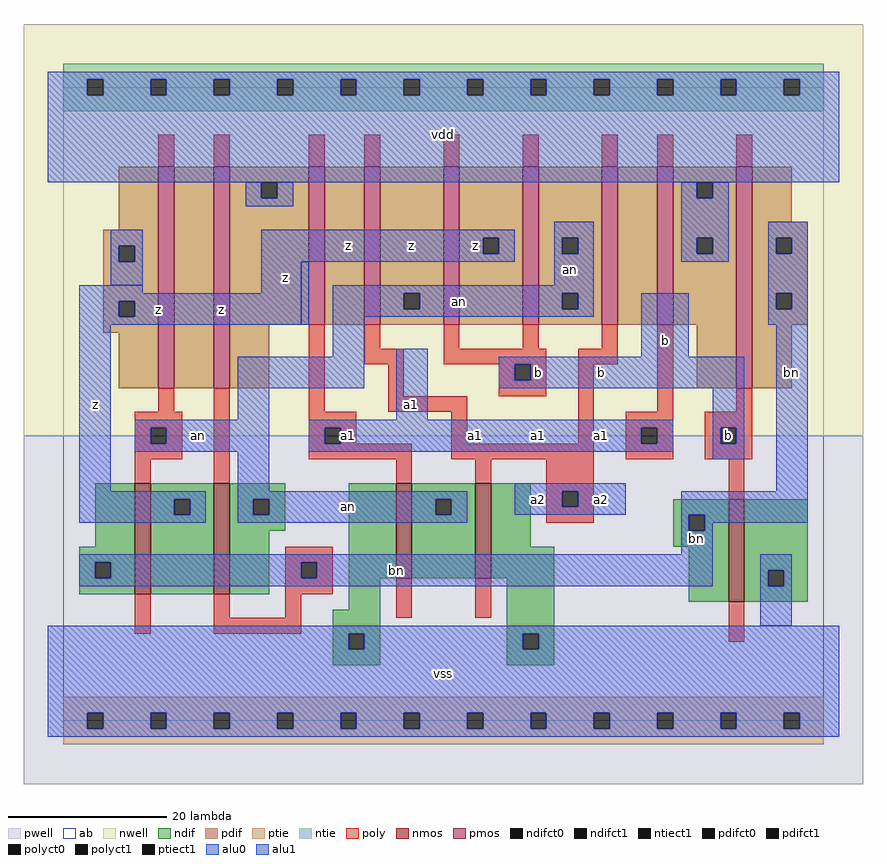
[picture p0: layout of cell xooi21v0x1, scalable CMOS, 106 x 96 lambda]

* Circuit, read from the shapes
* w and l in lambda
.subckt xooi21v0x1 a1 a2 an b bn vdd vss z
M1 z an bn vss nfet w=14 l=2
M2 an bn z vss nfet w=14 l=2
M3 an a1 vss vss nfet w=12 l=2
M4 vss a2 an vss nfet w=12 l=2
M5 vss b bn vss nfet w=13 l=2
M6 n1 an z vdd pfet w=28 l=2
M7 vdd bn n1 vdd pfet w=28 l=2
M8 n2 a1 vdd vdd pfet w=20 l=2
M9 an a2 n2 vdd pfet w=20 l=2
M10 z b an vdd pfet w=20 l=2 m=2
M11 n3 a2 an vdd pfet w=20 l=2
M12 vdd a1 n3 vdd pfet w=20 l=2
M13 bn b vdd vdd pfet w=28 l=2
.ends

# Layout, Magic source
magic
tech scmos
<< ab >>
rect 0 0 96 80
<< nwell >>
rect -5 36 101 88
<< pwell >>
rect -5 -8 101 36
<< poly >>
rect 12 70 14 74
rect 19 70 21 74
rect 31 70 33 74
rect 38 70 40 74
rect 48 70 50 74
rect 58 70 60 74
rect 68 70 70 74
rect 75 70 77 74
rect 85 70 87 74
rect 12 39 14 42
rect 9 37 15 39
rect 9 35 11 37
rect 13 35 15 37
rect 9 33 15 35
rect 9 30 11 33
rect 19 30 21 42
rect 31 39 33 50
rect 38 47 40 50
rect 48 47 50 50
rect 58 47 60 50
rect 68 47 70 50
rect 38 45 43 47
rect 48 45 61 47
rect 41 41 43 45
rect 55 43 57 45
rect 59 43 61 45
rect 55 41 61 43
rect 65 45 70 47
rect 41 39 51 41
rect 31 37 37 39
rect 31 35 33 37
rect 35 35 37 37
rect 49 35 51 39
rect 65 35 67 45
rect 75 39 77 50
rect 85 39 87 42
rect 31 33 44 35
rect 49 33 67 35
rect 71 37 77 39
rect 71 35 73 37
rect 75 35 77 37
rect 71 33 77 35
rect 81 37 87 39
rect 81 35 83 37
rect 85 35 87 37
rect 81 33 87 35
rect 42 30 44 33
rect 52 30 54 33
rect 28 20 34 22
rect 28 18 30 20
rect 32 18 34 20
rect 28 16 34 18
rect 61 29 67 33
rect 61 27 63 29
rect 65 27 67 29
rect 84 28 86 33
rect 61 25 67 27
rect 9 11 11 16
rect 19 13 21 16
rect 28 13 30 16
rect 19 11 30 13
rect 42 13 44 18
rect 52 13 54 18
rect 84 10 86 15
<< ndif >>
rect 4 22 9 30
rect 2 20 9 22
rect 2 18 4 20
rect 6 18 9 20
rect 2 16 9 18
rect 11 28 19 30
rect 11 26 14 28
rect 16 26 19 28
rect 11 16 19 26
rect 21 28 28 30
rect 21 26 24 28
rect 26 26 28 28
rect 21 24 28 26
rect 21 16 26 24
rect 36 18 42 30
rect 44 28 52 30
rect 44 26 47 28
rect 49 26 52 28
rect 44 18 52 26
rect 54 22 59 30
rect 77 26 84 28
rect 77 24 79 26
rect 81 24 84 26
rect 77 22 84 24
rect 54 18 62 22
rect 36 14 40 18
rect 34 11 40 14
rect 34 9 36 11
rect 38 9 40 11
rect 34 7 40 9
rect 56 11 62 18
rect 79 15 84 22
rect 86 19 94 28
rect 86 17 89 19
rect 91 17 94 19
rect 86 15 94 17
rect 56 9 58 11
rect 60 9 62 11
rect 56 7 62 9
<< pdif >>
rect 7 62 12 70
rect 5 60 12 62
rect 5 58 7 60
rect 9 58 12 60
rect 5 53 12 58
rect 5 51 7 53
rect 9 51 12 53
rect 5 49 12 51
rect 7 42 12 49
rect 14 42 19 70
rect 21 68 31 70
rect 21 66 25 68
rect 27 66 31 68
rect 21 50 31 66
rect 33 50 38 70
rect 40 54 48 70
rect 40 52 43 54
rect 45 52 48 54
rect 40 50 48 52
rect 50 61 58 70
rect 50 59 53 61
rect 55 59 58 61
rect 50 50 58 59
rect 60 61 68 70
rect 60 59 63 61
rect 65 59 68 61
rect 60 54 68 59
rect 60 52 63 54
rect 65 52 68 54
rect 60 50 68 52
rect 70 50 75 70
rect 77 68 85 70
rect 77 66 80 68
rect 82 66 85 68
rect 77 61 85 66
rect 77 59 80 61
rect 82 59 85 61
rect 77 50 85 59
rect 21 42 26 50
rect 80 42 85 50
rect 87 63 92 70
rect 87 61 94 63
rect 87 59 90 61
rect 92 59 94 61
rect 87 54 94 59
rect 87 52 90 54
rect 92 52 94 54
rect 87 50 94 52
rect 87 42 92 50
<< alu1 >>
rect -2 81 98 82
rect -2 79 3 81
rect 5 79 11 81
rect 13 79 19 81
rect 21 79 27 81
rect 29 79 35 81
rect 37 79 43 81
rect 45 79 51 81
rect 53 79 59 81
rect 61 79 67 81
rect 69 79 75 81
rect 77 79 83 81
rect 85 79 91 81
rect 93 79 98 81
rect -2 68 98 79
rect 2 54 10 55
rect 25 61 57 62
rect 25 59 53 61
rect 55 59 57 61
rect 25 58 57 59
rect 25 54 30 58
rect 2 53 30 54
rect 2 51 7 53
rect 9 51 30 53
rect 2 50 30 51
rect 2 29 6 50
rect 42 38 46 47
rect 73 46 79 54
rect 55 45 86 46
rect 55 43 57 45
rect 59 43 86 45
rect 55 42 86 43
rect 31 37 77 38
rect 31 35 33 37
rect 35 35 73 37
rect 75 35 77 37
rect 31 34 77 35
rect 82 37 86 42
rect 82 35 83 37
rect 85 35 86 37
rect 82 33 86 35
rect 57 29 71 30
rect 2 28 18 29
rect 2 26 14 28
rect 16 26 18 28
rect 2 25 18 26
rect 57 27 63 29
rect 65 27 71 29
rect 57 26 71 27
rect -2 11 98 12
rect -2 9 36 11
rect 38 9 58 11
rect 60 9 98 11
rect -2 1 98 9
rect -2 -1 3 1
rect 5 -1 11 1
rect 13 -1 19 1
rect 21 -1 27 1
rect 29 -1 35 1
rect 37 -1 43 1
rect 45 -1 51 1
rect 53 -1 59 1
rect 61 -1 67 1
rect 69 -1 75 1
rect 77 -1 83 1
rect 85 -1 91 1
rect 93 -1 98 1
rect -2 -2 98 -1
<< ptie >>
rect 0 1 96 3
rect 0 -1 3 1
rect 5 -1 11 1
rect 13 -1 19 1
rect 21 -1 27 1
rect 29 -1 35 1
rect 37 -1 43 1
rect 45 -1 51 1
rect 53 -1 59 1
rect 61 -1 67 1
rect 69 -1 75 1
rect 77 -1 83 1
rect 85 -1 91 1
rect 93 -1 96 1
rect 0 -3 96 -1
<< ntie >>
rect 0 81 96 83
rect 0 79 3 81
rect 5 79 11 81
rect 13 79 19 81
rect 21 79 27 81
rect 29 79 35 81
rect 37 79 43 81
rect 45 79 51 81
rect 53 79 59 81
rect 61 79 67 81
rect 69 79 75 81
rect 77 79 83 81
rect 85 79 91 81
rect 93 79 96 81
rect 0 77 96 79
<< nmos >>
rect 9 16 11 30
rect 19 16 21 30
rect 42 18 44 30
rect 52 18 54 30
rect 84 15 86 28
<< pmos >>
rect 12 42 14 70
rect 19 42 21 70
rect 31 50 33 70
rect 38 50 40 70
rect 48 50 50 70
rect 58 50 60 70
rect 68 50 70 70
rect 75 50 77 70
rect 85 42 87 70
<< polyct0 >>
rect 11 35 13 37
rect 30 18 32 20
<< polyct1 >>
rect 57 43 59 45
rect 33 35 35 37
rect 73 35 75 37
rect 83 35 85 37
rect 63 27 65 29
<< ndifct0 >>
rect 4 18 6 20
rect 24 26 26 28
rect 47 26 49 28
rect 79 24 81 26
rect 89 17 91 19
<< ndifct1 >>
rect 14 26 16 28
rect 36 9 38 11
rect 58 9 60 11
<< ntiect1 >>
rect 3 79 5 81
rect 11 79 13 81
rect 19 79 21 81
rect 27 79 29 81
rect 35 79 37 81
rect 43 79 45 81
rect 51 79 53 81
rect 59 79 61 81
rect 67 79 69 81
rect 75 79 77 81
rect 83 79 85 81
rect 91 79 93 81
<< ptiect1 >>
rect 3 -1 5 1
rect 11 -1 13 1
rect 19 -1 21 1
rect 27 -1 29 1
rect 35 -1 37 1
rect 43 -1 45 1
rect 51 -1 53 1
rect 59 -1 61 1
rect 67 -1 69 1
rect 75 -1 77 1
rect 83 -1 85 1
rect 91 -1 93 1
<< pdifct0 >>
rect 7 58 9 60
rect 25 66 27 68
rect 43 52 45 54
rect 63 59 65 61
rect 63 52 65 54
rect 80 66 82 68
rect 80 59 82 61
rect 90 59 92 61
rect 90 52 92 54
<< pdifct1 >>
rect 7 51 9 53
rect 53 59 55 61
<< alu0 >>
rect 23 66 25 68
rect 27 66 29 68
rect 23 65 29 66
rect 78 66 80 68
rect 82 66 84 68
rect 6 60 10 62
rect 6 58 7 60
rect 9 58 10 60
rect 6 55 10 58
rect 62 61 67 63
rect 62 59 63 61
rect 65 59 67 61
rect 30 50 31 58
rect 62 55 67 59
rect 78 61 84 66
rect 78 59 80 61
rect 82 59 84 61
rect 78 58 84 59
rect 89 61 94 63
rect 89 59 90 61
rect 92 59 94 61
rect 34 54 67 55
rect 89 54 94 59
rect 34 52 43 54
rect 45 52 63 54
rect 65 52 67 54
rect 34 51 67 52
rect 34 46 38 51
rect 22 42 38 46
rect 22 38 26 42
rect 89 52 90 54
rect 92 52 94 54
rect 89 50 94 52
rect 9 37 26 38
rect 9 35 11 37
rect 13 35 26 37
rect 9 34 26 35
rect 22 29 26 34
rect 90 29 94 50
rect 22 28 51 29
rect 22 26 24 28
rect 26 26 47 28
rect 49 26 51 28
rect 78 26 94 29
rect 22 25 51 26
rect 78 24 79 26
rect 81 25 94 26
rect 81 24 82 25
rect 78 21 82 24
rect 2 20 82 21
rect 2 18 4 20
rect 6 18 30 20
rect 32 18 82 20
rect 2 17 82 18
rect 88 19 92 21
rect 88 17 89 19
rect 91 17 92 19
rect 88 12 92 17
<< labels >>
rlabel alu0 17 36 17 36 6 an
rlabel alu0 36 27 36 27 6 an
rlabel alu0 50 53 50 53 6 an
rlabel alu0 64 57 64 57 6 an
rlabel alu0 80 23 80 23 6 bn
rlabel alu0 42 19 42 19 6 bn
rlabel alu0 92 44 92 44 6 bn
rlabel alu1 4 40 4 40 6 z
rlabel alu1 20 52 20 52 6 z
rlabel alu1 12 52 12 52 6 z
rlabel alu1 36 36 36 36 6 a1
rlabel alu1 44 40 44 40 6 a1
rlabel alu1 28 56 28 56 6 z
rlabel alu1 36 60 36 60 6 z
rlabel alu1 44 60 44 60 6 z
rlabel alu1 48 6 48 6 6 vss
rlabel alu1 52 36 52 36 6 a1
rlabel alu1 68 36 68 36 6 a1
rlabel alu1 60 36 60 36 6 a1
rlabel alu1 68 28 68 28 6 a2
rlabel alu1 60 28 60 28 6 a2
rlabel alu1 60 44 60 44 6 b
rlabel alu1 68 44 68 44 6 b
rlabel alu1 52 60 52 60 6 z
rlabel alu1 48 74 48 74 6 vdd
rlabel polyct1 84 36 84 36 6 b
rlabel alu1 76 48 76 48 6 b
<< end >>
